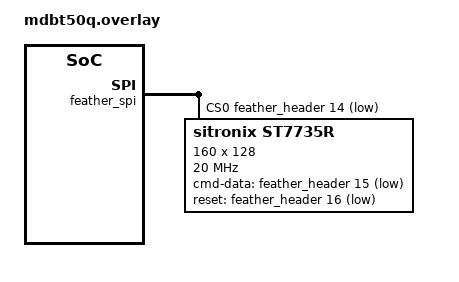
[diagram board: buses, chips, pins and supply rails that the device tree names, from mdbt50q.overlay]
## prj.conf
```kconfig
CONFIG_LV_Z_MEM_POOL_NUMBER_BLOCKS=8
CONFIG_MAIN_STACK_SIZE=2048

CONFIG_SPI=y
CONFIG_DISPLAY=y
CONFIG_ST7735R=y
CONFIG_DISPLAY_LOG_LEVEL_ERR=y

CONFIG_LOG=y

CONFIG_LVGL=y
CONFIG_LV_COLOR_16_SWAP=y
CONFIG_LV_COLOR_DEPTH_16=y
CONFIG_LV_USE_LOG=y
CONFIG_LV_USE_LABEL=y
CONFIG_LV_USE_IMG=y
CONFIG_LV_FONT_DEFAULT_MONTSERRAT_16=y
CONFIG_LV_FONT_MONTSERRAT_16=y
```

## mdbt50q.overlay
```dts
// To get started, press Ctrl+Space to bring up the completion menu and view the available nodes.
// For more help, browse the DeviceTree documentation at https://docs.zephyrproject.org/latest/guides/dts/index.html

/ {
	chosen {
		zephyr,display = &st7735r;
	};
};

&feather_spi {
	status = "okay";
	cs-gpios = <&feather_header 14 GPIO_ACTIVE_LOW>;	/* D5 */

	st7735r: st7735r@0 {
		compatible = "sitronix,st7735r";
		label = "ST7735R";
		spi-max-frequency = <20000000>;
		reg = <0>;
		cmd-data-gpios = <&feather_header 15 GPIO_ACTIVE_LOW>;	/* D6 */
		reset-gpios = <&feather_header 16 GPIO_ACTIVE_LOW>;	/* D9 */
		width = <160>;
		height = <128>;
		x-offset = <0>;
		y-offset = <0>;
		madctl = <0x60>;
		colmod = <0x55>;
		vmctr1 = <0x0e>;
		pwctr1 = [a2 02 84];
		pwctr2 = [c5];
		pwctr3 = [0a 00];
		pwctr4 = [8a 2a];
		pwctr5 = [8a ee];
		frmctr1 = [01 2c 2d];
		frmctr2 = [01 2c 2d];
		frmctr3 = [01 2c 2d 01 2c 2d];
		gamctrp1 = [02 1c 07 12 37 32 29 2d 29 25 2b 39 00 01 03 10];
		gamctrn1 = [03 1d 07 06 2e 2c 29 2d 2e 2e 37 3f 00 00 02 10];
	};
};
```

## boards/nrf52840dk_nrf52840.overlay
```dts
/ {
	chosen {
		zephyr,display = &st7735r;
	};
};

&arduino_spi {
	status = "okay";
	cs-gpios = <&arduino_header 16 GPIO_ACTIVE_LOW>;	/* D10 */

	st7735r: st7735r@0 {
		compatible = "sitronix,st7735r";
		label = "ST7735R";
		spi-max-frequency = <20000000>;
		reg = <0>;
		cmd-data-gpios = <&arduino_header 15 GPIO_ACTIVE_LOW>;	/* D9 */
		reset-gpios = <&arduino_header 14 GPIO_ACTIVE_LOW>;	/* D8 */
		width = <160>;
		height = <128>;
		x-offset = <0>;
		y-offset = <0>;
		madctl = <0x60>;
		colmod = <0x55>;
		vmctr1 = <0x0e>;
		pwctr1 = [a2 02 84];
		pwctr2 = [c5];
		pwctr3 = [0a 00];
		pwctr4 = [8a 2a];
		pwctr5 = [8a ee];
		frmctr1 = [01 2c 2d];
		frmctr2 = [01 2c 2d];
		frmctr3 = [01 2c 2d 01 2c 2d];
		gamctrp1 = [02 1c 07 12 37 32 29 2d 29 25 2b 39 00 01 03 10];
		gamctrn1 = [03 1d 07 06 2e 2c 29 2d 2e 2e 37 3f 00 00 02 10];
	};
};
```

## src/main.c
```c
/*
 * Copyright (c) 2018 Jan Van Winkel <jan.van_winkel@dxplore.eu>
 *
 * SPDX-License-Identifier: Apache-2.0
 */

#include <device.h>
#include <drivers/display.h>
#include <lvgl.h>
#include <stdio.h>
#include <string.h>
#include <zephyr.h>

#define LOG_LEVEL CONFIG_LOG_DEFAULT_LEVEL
#include <logging/log.h>

#include "image.h"
LOG_MODULE_REGISTER(app);

LV_IMG_DECLARE(mdpp_logo);

void main(void)
{
	uint32_t count = 0U;
	char count_str[11] = {0};
	const struct device *display_dev;
	lv_obj_t *hello_world_label;
	lv_obj_t *count_label;

	display_dev = DEVICE_DT_GET(DT_CHOSEN(zephyr_display));
	if (!device_is_ready(display_dev)) {
		LOG_ERR("Device not ready, aborting test");
		return;
	}

	
	lv_obj_t * img1 = lv_img_create(lv_scr_act());
    lv_img_set_src(img1, &mdpp_logo);
    lv_obj_align(img1, LV_ALIGN_CENTER, 0, 0);	
	
	hello_world_label = lv_label_create(lv_scr_act());

	lv_label_set_text(hello_world_label, "#7400ff Hello MDPP!#");
	lv_label_set_recolor(hello_world_label,true);
	lv_obj_align(hello_world_label, LV_ALIGN_CENTER, 0, 0);

	count_label = lv_label_create(lv_scr_act());
	lv_obj_align(count_label, LV_ALIGN_BOTTOM_MID, 0, 0);

	lv_task_handler();
	display_blanking_off(display_dev);

	while (1) {
		if ((count % 100) == 0U) {
			sprintf(count_str, "%d", count/100U);
			lv_label_set_text(count_label, count_str);
		}
		lv_task_handler();
		k_sleep(K_MSEC(10));
		++count;
	}
}
```
